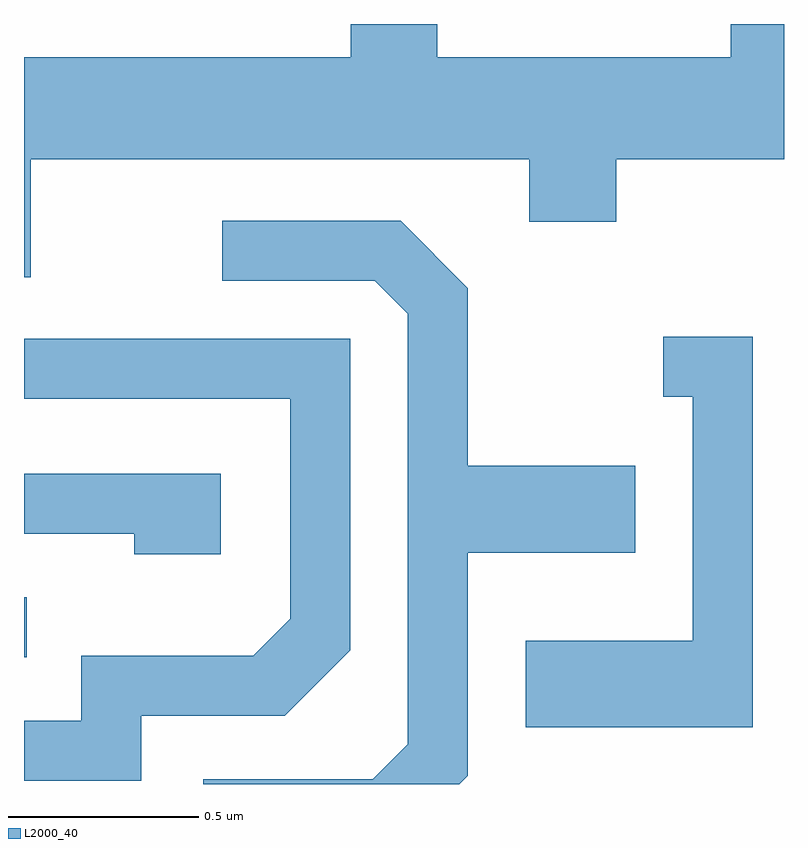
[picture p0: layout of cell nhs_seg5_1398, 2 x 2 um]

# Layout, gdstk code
import gdstk
lib = gdstk.Library(unit=1e-6, precision=1e-09)
def R(c, l, rs):  # rectangles x0, y0, x1, y1
    for r in rs: c.add(gdstk.rectangle(r[:2], r[2:], *l))
def P(c, l, *ps):  # polygons
    for p in ps: c.add(gdstk.Polygon(p, *l))
L2000_40 = (2000, 40)

nhs_seg5_1398 = lib.new_cell('nhs_seg5_1398')
R(nhs_seg5_1398, L2000_40, [(195.611,1424.406,195.618,1424.564)])
P(nhs_seg5_1398, L2000_40, [(195.629,1425.716),(196.941,1425.716),(196.941,1425.551),(197.169,1425.551),(197.169,1425.716),(197.611,1425.716),(197.611,1426.072),(197.471,1426.072),(197.471,1425.984),(196.699,1425.984),(196.699,1426.072),(196.471,1426.072),(196.471,1425.984),(195.611,1425.984),(195.611,1425.406),(195.629,1425.406)],
  [(196.779,1424.094),(196.779,1424.681),(197.219,1424.681),(197.219,1424.909),(196.779,1424.909),(196.779,1425.377),(196.602,1425.554),(196.133,1425.554),(196.133,1425.396),(196.534,1425.396),(196.621,1425.309),(196.621,1424.177),(196.529,1424.084),(196.083,1424.084),(196.083,1424.072),(196.757,1424.072)],
  [(197.529,1425.249),(197.293,1425.249),(197.293,1425.091),(197.371,1425.091),(197.371,1424.449),(196.931,1424.449),(196.931,1424.221),(197.529,1424.221)],
  [(195.919,1424.251),(196.297,1424.251),(196.469,1424.424),(196.469,1425.244),(195.611,1425.244),(195.611,1425.086),(196.311,1425.086),(196.311,1424.507),(196.214,1424.409),(195.761,1424.409),(195.761,1424.239),(195.611,1424.239),(195.611,1424.081),(195.919,1424.081)],
  [(196.129,1424.889),(195.611,1424.889),(195.611,1424.731),(195.901,1424.731),(195.901,1424.676),(196.129,1424.676)])

lib.write_gds('nhs_seg5_1398.gds')
